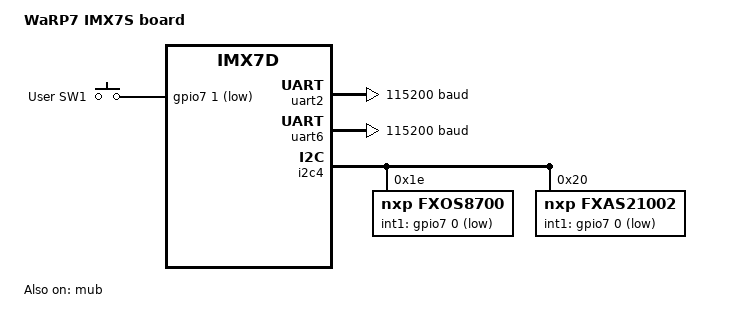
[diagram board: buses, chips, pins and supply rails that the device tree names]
/*
 * Copyright (c) 2018, Diego Sueiro
 *
 * SPDX-License-Identifier: Apache-2.0
 */

/dts-v1/;

#include <nxp/nxp_imx7d_m4.dtsi>
#include "warp7-pinctrl.dtsi"
#include <zephyr/dt-bindings/input/input-event-codes.h>

/ {
	model = "WaRP7 IMX7S board";
	compatible = "nxp,mcimx7d_m4";

	aliases {
		sw0 = &user_switch_1;
		magn0 = &fxos8700;
		accel0 = &fxos8700;
	};

	chosen {
		zephyr,flash = &tcml_code;
		zephyr,sram = &tcmu_sys;
		zephyr,console = &uart2;
		zephyr,shell-uart = &uart2;
	};

	gpio_keys {
		compatible = "gpio-keys";

		user_switch_1: user_sw_1 {
			gpios = <&gpio7 1 GPIO_ACTIVE_LOW>;
			label = "User SW1";
			zephyr,code = <INPUT_KEY_0>;
		};
	};
};

&uart2 {
	status = "okay";
	current-speed = <115200>;
	modem-mode = <0>;
	pinctrl-0 = <&uart2_default>;
	pinctrl-names = "default";
};

&uart6 {
	status = "okay";
	current-speed = <115200>;
	modem-mode = <0>;
	pinctrl-0 = <&uart6_default>;
	pinctrl-names = "default";
};

&gpio7 {
	status = "okay";
};

&i2c1 {
	pinctrl-0 = <&i2c1_default>;
	pinctrl-names = "default";
};

&i2c2 {
	pinctrl-0 = <&i2c2_default>;
	pinctrl-names = "default";
};

&i2c3 {
	pinctrl-0 = <&i2c3_default>;
	pinctrl-names = "default";
};

&i2c4 {
	status = "okay";
	pinctrl-0 = <&i2c4_default>;
	pinctrl-names = "default";

	fxos8700: fxos8700@1e {
		compatible = "nxp,fxos8700";
		reg = <0x1e>;
		int1-gpios = <&gpio7 0 GPIO_ACTIVE_LOW>;
	};

	fxas21002@20 {
		compatible = "nxp,fxas21002";
		reg = <0x20>;
		int1-gpios = <&gpio7 0 GPIO_ACTIVE_LOW>;
	};
};

&mub {
	status = "okay";
};
